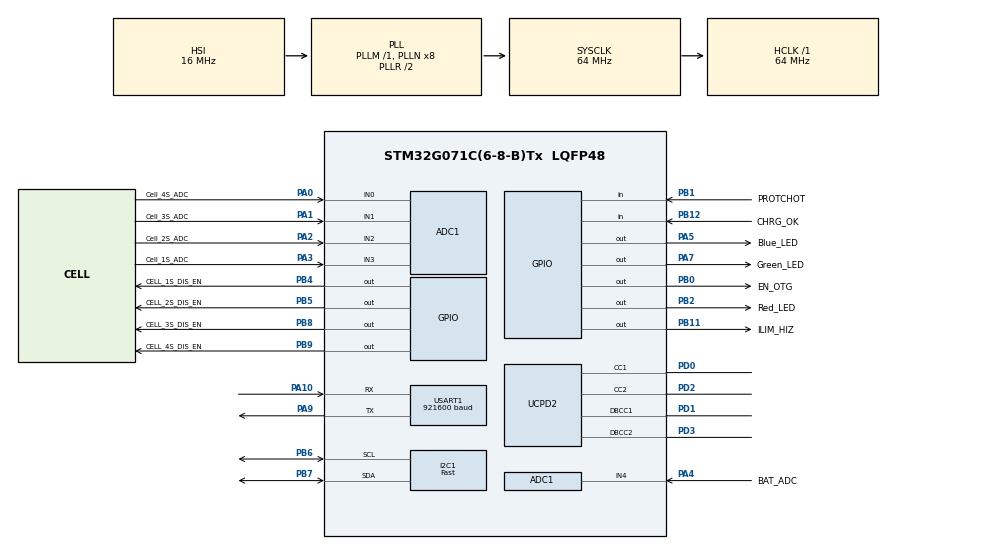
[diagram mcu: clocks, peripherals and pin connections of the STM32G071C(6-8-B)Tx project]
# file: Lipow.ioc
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ADC1.Channel-3\#ChannelRegularConversion=ADC_CHANNEL_4
ADC1.Channel-4\#ChannelRegularConversion=ADC_CHANNEL_3
ADC1.Channel-5\#ChannelRegularConversion=ADC_CHANNEL_2
ADC1.Channel-6\#ChannelRegularConversion=ADC_CHANNEL_1
ADC1.Channel-7\#ChannelRegularConversion=ADC_CHANNEL_0
ADC1.Channel-8\#ChannelRegularConversion=ADC_CHANNEL_TEMPSENSOR
ADC1.Channel-9\#ChannelRegularConversion=ADC_CHANNEL_VREFINT
ADC1.ChannelTS=ADC_CHANNEL_TEMPSENSOR
ADC1.ChannelVREF=ADC_CHANNEL_VREFINT
ADC1.ClockPrescaler=ADC_CLOCK_SYNC_PCLK_DIV4
ADC1.ContinuousConvMode=ENABLE
ADC1.DMAContinuousRequests=ENABLE
ADC1.EOCSelection=ADC_EOC_SEQ_CONV
ADC1.NbrOfConversion=7
ADC1.NbrOfConversionFlag=1
ADC1.Rank-3\#ChannelRegularConversion=1
ADC1.Rank-4\#ChannelRegularConversion=2
ADC1.Rank-5\#ChannelRegularConversion=3
ADC1.Rank-6\#ChannelRegularConversion=4
ADC1.Rank-7\#ChannelRegularConversion=5
ADC1.Rank-8\#ChannelRegularConversion=6
ADC1.Rank-9\#ChannelRegularConversion=7
ADC1.SamplingTime-3\#ChannelRegularConversion=ADC_SAMPLINGTIME_COMMON_1
ADC1.SamplingTime-4\#ChannelRegularConversion=ADC_SAMPLINGTIME_COMMON_1
ADC1.SamplingTime-5\#ChannelRegularConversion=ADC_SAMPLINGTIME_COMMON_1
ADC1.SamplingTime-6\#ChannelRegularConversion=ADC_SAMPLINGTIME_COMMON_1
ADC1.SamplingTime-7\#ChannelRegularConversion=ADC_SAMPLINGTIME_COMMON_1
ADC1.SamplingTime-8\#ChannelRegularConversion=ADC_SAMPLINGTIME_COMMON_1
ADC1.SamplingTime-9\#ChannelRegularConversion=ADC_SAMPLINGTIME_COMMON_1
ADC1.SamplingTimeCommon1=ADC_SAMPLETIME_160CYCLES_5
ADC1.SamplingTimeCommon2=ADC_SAMPLETIME_1CYCLE_5
ADC1.SelectedChannel=ADC_CHANNEL_0|ADC_CHANNEL_1|ADC_CHANNEL_2|ADC_CHANNEL_3|ADC_CHANNEL_4|ADC_CHANNEL_TEMPSENSOR|ADC_CHANNEL_VREFINT
ADC1.Sequencer=FULLY_CONFIGURABLE
ADC1.master=1
Dma.ADC1.0.Direction=DMA_PERIPH_TO_MEMORY
Dma.ADC1.0.EventEnable=DISABLE
Dma.ADC1.0.Instance=DMA1_Channel1
Dma.ADC1.0.MemDataAlignment=DMA_MDATAALIGN_WORD
Dma.ADC1.0.MemInc=DMA_MINC_ENABLE
Dma.ADC1.0.Mode=DMA_CIRCULAR
Dma.ADC1.0.PeriphDataAlignment=DMA_PDATAALIGN_WORD
Dma.ADC1.0.PeriphInc=DMA_PINC_DISABLE
Dma.ADC1.0.Polarity=HAL_DMAMUX_REQ_GEN_RISING
Dma.ADC1.0.Priority=DMA_PRIORITY_LOW
Dma.ADC1.0.RequestNumber=1
Dma.ADC1.0.SignalID=NONE
Dma.ADC1.0.SyncEnable=DISABLE
Dma.ADC1.0.SyncPolarity=HAL_DMAMUX_SYNC_NO_EVENT
Dma.ADC1.0.SyncRequestNumber=1
Dma.ADC1.0.SyncSignalID=NONE
Dma.I2C1_RX.4.Direction=DMA_PERIPH_TO_MEMORY
Dma.I2C1_RX.4.EventEnable=DISABLE
Dma.I2C1_RX.4.Instance=DMA1_Channel5
Dma.I2C1_RX.4.MemDataAlignment=DMA_MDATAALIGN_BYTE
Dma.I2C1_RX.4.MemInc=DMA_MINC_ENABLE
Dma.I2C1_RX.4.Mode=DMA_NORMAL
Dma.I2C1_RX.4.PeriphDataAlignment=DMA_PDATAALIGN_BYTE
Dma.I2C1_RX.4.PeriphInc=DMA_PINC_DISABLE
Dma.I2C1_RX.4.Polarity=HAL_DMAMUX_REQ_GEN_RISING
Dma.I2C1_RX.4.Priority=DMA_PRIORITY_HIGH
Dma.I2C1_RX.4.RequestNumber=1
Dma.I2C1_RX.4.SignalID=NONE
Dma.I2C1_RX.4.SyncEnable=DISABLE
Dma.I2C1_RX.4.SyncPolarity=HAL_DMAMUX_SYNC_NO_EVENT
Dma.I2C1_RX.4.SyncRequestNumber=1
Dma.I2C1_RX.4.SyncSignalID=NONE
Dma.I2C1_TX.3.Direction=DMA_MEMORY_TO_PERIPH
Dma.I2C1_TX.3.EventEnable=DISABLE
Dma.I2C1_TX.3.Instance=DMA1_Channel4
Dma.I2C1_TX.3.MemDataAlignment=DMA_MDATAALIGN_BYTE
Dma.I2C1_TX.3.MemInc=DMA_MINC_ENABLE
Dma.I2C1_TX.3.Mode=DMA_NORMAL
Dma.I2C1_TX.3.PeriphDataAlignment=DMA_PDATAALIGN_BYTE
Dma.I2C1_TX.3.PeriphInc=DMA_PINC_DISABLE
Dma.I2C1_TX.3.Polarity=HAL_DMAMUX_REQ_GEN_RISING
Dma.I2C1_TX.3.Priority=DMA_PRIORITY_HIGH
Dma.I2C1_TX.3.RequestNumber=1
Dma.I2C1_TX.3.SignalID=NONE
Dma.I2C1_TX.3.SyncEnable=DISABLE
Dma.I2C1_TX.3.SyncPolarity=HAL_DMAMUX_SYNC_NO_EVENT
Dma.I2C1_TX.3.SyncRequestNumber=1
Dma.I2C1_TX.3.SyncSignalID=NONE
Dma.Request0=ADC1
Dma.Request1=USART1_TX
Dma.Request2=USART1_RX
Dma.Request3=I2C1_TX
Dma.Request4=I2C1_RX
Dma.Request5=UCPD2_RX
Dma.Request6=UCPD2_TX
Dma.UCPD2_RX.5.Direction=DMA_PERIPH_TO_MEMORY
Dma.UCPD2_RX.5.EventEnable=DISABLE
Dma.UCPD2_RX.5.Instance=DMA1_Channel6
Dma.UCPD2_RX.5.MemDataAlignment=DMA_MDATAALIGN_BYTE
Dma.UCPD2_RX.5.MemInc=DMA_MINC_ENABLE
Dma.UCPD2_RX.5.Mode=DMA_NORMAL
Dma.UCPD2_RX.5.PeriphDataAlignment=DMA_PDATAALIGN_BYTE
Dma.UCPD2_RX.5.PeriphInc=DMA_PINC_DISABLE
Dma.UCPD2_RX.5.Polarity=HAL_DMAMUX_REQ_GEN_RISING
Dma.UCPD2_RX.5.Priority=DMA_PRIORITY_LOW
Dma.UCPD2_RX.5.RequestNumber=1
Dma.UCPD2_RX.5.SignalID=NONE
Dma.UCPD2_RX.5.SyncEnable=DISABLE
Dma.UCPD2_RX.5.SyncPolarity=HAL_DMAMUX_SYNC_NO_EVENT
Dma.UCPD2_RX.5.SyncRequestNumber=1
Dma.UCPD2_RX.5.SyncSignalID=NONE
Dma.UCPD2_TX.6.Direction=DMA_MEMORY_TO_PERIPH
Dma.UCPD2_TX.6.EventEnable=DISABLE
Dma.UCPD2_TX.6.Instance=DMA1_Channel7
Dma.UCPD2_TX.6.MemDataAlignment=DMA_MDATAALIGN_BYTE
Dma.UCPD2_TX.6.MemInc=DMA_MINC_ENABLE
Dma.UCPD2_TX.6.Mode=DMA_NORMAL
Dma.UCPD2_TX.6.PeriphDataAlignment=DMA_PDATAALIGN_BYTE
Dma.UCPD2_TX.6.PeriphInc=DMA_PINC_DISABLE
Dma.UCPD2_TX.6.Polarity=HAL_DMAMUX_REQ_GEN_RISING
Dma.UCPD2_TX.6.Priority=DMA_PRIORITY_LOW
Dma.UCPD2_TX.6.RequestNumber=1
Dma.UCPD2_TX.6.SignalID=NONE
Dma.UCPD2_TX.6.SyncEnable=DISABLE
Dma.UCPD2_TX.6.SyncPolarity=HAL_DMAMUX_SYNC_NO_EVENT
Dma.UCPD2_TX.6.SyncRequestNumber=1
Dma.UCPD2_TX.6.SyncSignalID=NONE
Dma.USART1_RX.2.Direction=DMA_PERIPH_TO_MEMORY
Dma.USART1_RX.2.EventEnable=DISABLE
Dma.USART1_RX.2.Instance=DMA1_Channel3
Dma.USART1_RX.2.MemDataAlignment=DMA_MDATAALIGN_BYTE
Dma.USART1_RX.2.MemInc=DMA_MINC_ENABLE
Dma.USART1_RX.2.Mode=DMA_NORMAL
Dma.USART1_RX.2.PeriphDataAlignment=DMA_PDATAALIGN_BYTE
Dma.USART1_RX.2.PeriphInc=DMA_PINC_DISABLE
Dma.USART1_RX.2.Polarity=HAL_DMAMUX_REQ_GEN_RISING
Dma.USART1_RX.2.Priority=DMA_PRIORITY_LOW
Dma.USART1_RX.2.RequestNumber=1
Dma.USART1_RX.2.SignalID=HAL_DMAMUX1_REQ_GEN_DMAMUX1_CH0_EVT
Dma.USART1_RX.2.SyncEnable=DISABLE
Dma.USART1_RX.2.SyncPolarity=HAL_DMAMUX_SYNC_NO_EVENT
Dma.USART1_RX.2.SyncRequestNumber=1
Dma.USART1_RX.2.SyncSignalID=NONE
Dma.USART1_TX.1.Direction=DMA_MEMORY_TO_PERIPH
Dma.USART1_TX.1.EventEnable=DISABLE
Dma.USART1_TX.1.Instance=DMA1_Channel2
Dma.USART1_TX.1.MemDataAlignment=DMA_MDATAALIGN_BYTE
Dma.USART1_TX.1.MemInc=DMA_MINC_ENABLE
Dma.USART1_TX.1.Mode=DMA_NORMAL
Dma.USART1_TX.1.PeriphDataAlignment=DMA_PDATAALIGN_BYTE
Dma.USART1_TX.1.PeriphInc=DMA_PINC_DISABLE
Dma.USART1_TX.1.Polarity=HAL_DMAMUX_REQ_GEN_RISING
Dma.USART1_TX.1.Priority=DMA_PRIORITY_LOW
Dma.USART1_TX.1.RequestNumber=1
Dma.USART1_TX.1.SignalID=HAL_DMAMUX1_REQ_GEN_DMAMUX1_CH0_EVT
Dma.USART1_TX.1.SyncEnable=DISABLE
Dma.USART1_TX.1.SyncPolarity=HAL_DMAMUX_SYNC_NO_EVENT
Dma.USART1_TX.1.SyncRequestNumber=1
Dma.USART1_TX.1.SyncSignalID=HAL_DMAMUX1_SYNC_DMAMUX1_CH0_EVT
FREERTOS.Tasks01=defaultTask,0,128,StartDefaultTask,Default,NULL
FREERTOS.configGENERATE_RUN_TIME_STATS=1
FREERTOS.configLIBRARY_MAX_SYSCALL_INTERRUPT_PRIORITY=3
FREERTOS.configMINIMAL_STACK_SIZE=64
FREERTOS.configTOTAL_HEAP_SIZE=12000
FREERTOS.configUSE_PREEMPTION=1
FREERTOS.configUSE_STATS_FORMATTING_FUNCTIONS=0
FREERTOS.configUSE_TRACE_FACILITY=1
I2C1.I2C_Speed_Mode=I2C_Fast
I2C1.Timing=0x00602173
Mcu.Family=STM32G0
Mcu.Name=STM32G071C(6-8-B)Tx
Mcu.Package=LQFP48
NVIC.ADC1_COMP_IRQn=true\:3\:0\:true\:false\:true\:true\:true\:true
NVIC.DMA1_Ch4_7_DMAMUX1_OVR_IRQn=true\:3\:0\:false\:false\:true\:true\:false\:true
NVIC.DMA1_Channel1_IRQn=true\:3\:0\:true\:false\:true\:true\:false\:true
NVIC.DMA1_Channel2_3_IRQn=true\:3\:0\:true\:false\:true\:true\:false\:true
NVIC.I2C1_IRQn=true\:3\:0\:true\:false\:true\:true\:true\:true
NVIC.TIM1_BRK_UP_TRG_COM_IRQn=true\:0\:0\:false\:false\:true\:false\:false\:true
NVIC.TIM7_LPTIM2_IRQn=true\:3\:0\:true\:false\:true\:true\:true\:true
NVIC.TimeBase=TIM1_BRK_UP_TRG_COM_IRQn
NVIC.TimeBaseIP=TIM1
NVIC.UCPD1_2_IRQn=true\:3\:0\:false\:false\:true\:true\:true\:false
NVIC.USART1_IRQn=true\:3\:0\:true\:false\:true\:true\:true\:true
PA0.GPIO_Label=Cell_4S_ADC
PA0.Mode=IN0
PA0.Signal=ADC1_IN0
PA1.GPIO_Label=Cell_3S_ADC
PA1.Mode=IN1
PA1.Signal=ADC1_IN1
PA10.GPIO_Speed=GPIO_SPEED_FREQ_HIGH
PA10.Mode=Asynchronous
PA10.Signal=USART1_RX
PA11\ [PA9].GPIO_PuPd=GPIO_NOPULL
PA11\ [PA9].GPIO_Speed=GPIO_SPEED_FREQ_HIGH
PA11\ [PA9].Signal=USART1_CTS
PA12\ [PA10].Signal=USART1_RTS
PA13.Mode=Serial_Wire
PA13.Signal=SYS_SWDIO
PA14-BOOT0.Mode=Serial_Wire
PA14-BOOT0.Signal=SYS_SWCLK
PA2.GPIO_Label=Cell_2S_ADC
PA2.Mode=IN2
PA2.Signal=ADC1_IN2
PA3.GPIO_Label=Cell_1S_ADC
PA3.Mode=IN3
PA3.Signal=ADC1_IN3
PA4.GPIO_Label=BAT_ADC
PA4.Mode=IN4
PA4.Signal=ADC1_IN4
PA5.GPIO_Label=Blue_LED
PA5.PinState=GPIO_PIN_SET
PA5.Signal=GPIO_Output
PA7.GPIO_Label=Green_LED
PA7.PinState=GPIO_PIN_SET
PA7.Signal=GPIO_Output
PA9.GPIO_Speed=GPIO_SPEED_FREQ_HIGH
PA9.Mode=Asynchronous
PA9.Signal=USART1_TX
PB0.GPIO_Label=EN_OTG
PB0.Signal=GPIO_Output
PB1.GPIO_Label=PROTCHOT
PB1.Signal=GPIO_Input
PB11.GPIO_Label=ILIM_HIZ
PB11.Signal=GPIO_Output
PB12.GPIO_Label=CHRG_OK
PB12.Signal=GPIO_Input
PB2.GPIO_Label=Red_LED
PB2.PinState=GPIO_PIN_SET
PB2.Signal=GPIO_Output
PB4.GPIO_Label=CELL_1S_DIS_EN
PB4.Signal=GPIO_Output
PB5.GPIO_Label=CELL_2S_DIS_EN
PB5.Signal=GPIO_Output
PB6.GPIO_PuPdOD=GPIO_NOPULL
PB6.Mode=I2C
PB6.Signal=I2C1_SCL
PB7.GPIO_PuPdOD=GPIO_NOPULL
PB7.Mode=I2C
PB7.Signal=I2C1_SDA
PB8.GPIO_Label=CELL_3S_DIS_EN
PB8.Signal=GPIO_Output
PB9.GPIO_Label=CELL_4S_DIS_EN
PB9.Signal=GPIO_Output
PD0.Mode=Sink_AllSignals
PD0.Signal=UCPD2_CC1
PD1.Mode=EnableDeadBattery
PD1.Signal=UCPD2_DBCC1
PD2.Mode=Sink_AllSignals
PD2.Signal=UCPD2_CC2
PD3.Mode=EnableDeadBattery
PD3.Signal=UCPD2_DBCC2
ProjectManager.HeapSize=0x200
ProjectManager.StackSize=0x400
ProjectManager.TargetToolchain=Makefile
RCC.ADCCLockSelection=RCC_ADCCLKSOURCE_HSI
RCC.ADCFreq_Value=16000000
RCC.AHBFreq_Value=64000000
RCC.CortexFreq_Value=64000000
RCC.EXTERNAL_CLOCK_VALUE=48000
RCC.HCLKFreq_Value=64000000
RCC.HSE_VALUE=8000000
RCC.HSI_VALUE=16000000
RCC.LSE_VALUE=32768
RCC.SYSCLKFreq_VALUE=64000000
RCC.SYSCLKSource=RCC_SYSCLKSOURCE_PLLCLK
RCC.VCOOutputFreq_Value=128000000
TIM7.Period=0x1
TIM7.Prescaler=0x1194
USART1.BaudRate=921600
USART1.DMADisableonRxErrorParam=ADVFEATURE_DMA_DISABLEONRXERROR
USART1.OverrunDisableParam=ADVFEATURE_OVERRUN_DISABLE
USART1.VirtualMode-Asynchronous=VM_ASYNC
USART1.WordLength=WORDLENGTH_8B
USBPD.PE_CapscounterSupport_P0=USBPD_TRUE
USBPD.PE_DR_Swap_To_DFP_P0=USBPD_FALSE
USBPD.PE_DR_Swap_To_UFP_P0=USBPD_FALSE
USBPD.PE_SpecRevision_P0=USBPD_SPECIFICATION_REV3
USBPD.PORT0_NB_SINKPDO=5
USBPD.PORT0_SINK_PDO1=0x2201912C
USBPD.PORT0_SINK_PDO2=0x00000000
USBPD.USBPD_BOARD_MAX_CURRENT_MA=5000
USBPD.USBPD_BOARD_MAX_VOLTAGE_MV=20000
USBPD.USBPD_BOARD_REQUESTED_VOLTAGE_MV=15000
USBPD.USBPD_CORE_PDO_SRC_FIXED_MAX_CURRENT=5
USBPD.USBPD_PDP_SNK_IN_WATTS=60
VP_ADC1_TempSens_Input.Mode=IN-TempSens
VP_ADC1_Vref_Input.Mode=IN-Vrefint
VP_FREERTOS_VS_CMSIS_V1.Mode=CMSIS_V1
VP_SYS_VS_DBSignals.Mode=DisableDeadBatterySignals
VP_SYS_VS_tim1.Mode=TIM1
VP_TIM7_VS_ClockSourceINT.Mode=Enable_Timer
VP_USBPD_VS_PD3FULL.Mode=PD3_Full_Stack
VP_USBPD_VS_USBPD2.Mode=USBPD_P0
VP_USBPD_VS_usbpd_tim2.Mode=TIM2
board=custom

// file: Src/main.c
/* USER CODE BEGIN Header */
/**
 ******************************************************************************
 * @file           : main.c
 * @brief          : Main program body
 ******************************************************************************
 * This notice applies to any and all portions of this file
 * that are not between comment pairs USER CODE BEGIN and
 * USER CODE END. Other portions of this file, whether
 * inserted by the user or by software development tools
 * are owned by their respective copyright owners.
 *
 * Copyright (c) 2019 STMicroelectronics International N.V.
 * All rights reserved.
 *
 * Redistribution and use in source and binary forms, with or without
 * modification, are permitted, provided that the following conditions are met:
 *
 * 1. Redistribution of source code must retain the above copyright notice,
 *    this list of conditions and the following disclaimer.
 * 2. Redistributions in binary form must reproduce the above copyright notice,
 *    this list of conditions and the following disclaimer in the documentation
 *    and/or other materials provided with the distribution.
 * 3. Neither the name of STMicroelectronics nor the names of other
 *    contributors to this software may be used to endorse or promote products
 *    derived from this software without specific written permission.
 * 4. This software, including modifications and/or derivative works of this
 *    software, must execute solely and exclusively on microcontroller or
 *    microprocessor devices manufactured by or for STMicroelectronics.
 * 5. Redistribution and use of this software other than as permitted under
 *    this license is void and will automatically terminate your rights under
 *    this license.
 *
 * THIS SOFTWARE IS PROVIDED BY STMICROELECTRONICS AND CONTRIBUTORS "AS IS"
 * AND ANY EXPRESS, IMPLIED OR STATUTORY WARRANTIES, INCLUDING, BUT NOT
 * LIMITED TO, THE IMPLIED WARRANTIES OF MERCHANTABILITY, FITNESS FOR A
 * PARTICULAR PURPOSE AND NON-INFRINGEMENT OF THIRD PARTY INTELLECTUAL PROPERTY
 * RIGHTS ARE DISCLAIMED TO THE FULLEST EXTENT PERMITTED BY LAW. IN NO EVENT
 * SHALL STMICROELECTRONICS OR CONTRIBUTORS BE LIABLE FOR ANY DIRECT, INDIRECT,
 * INCIDENTAL, SPECIAL, EXEMPLARY, OR CONSEQUENTIAL DAMAGES (INCLUDING, BUT NOT
 * LIMITED TO, PROCUREMENT OF SUBSTITUTE GOODS OR SERVICES; LOSS OF USE, DATA,
 * OR PROFITS; OR BUSINESS INTERRUPTION) HOWEVER CAUSED AND ON ANY THEORY OF
 * LIABILITY, WHETHER IN CONTRACT, STRICT LIABILITY, OR TORT (INCLUDING
 * NEGLIGENCE OR OTHERWISE) ARISING IN ANY WAY OUT OF THE USE OF THIS SOFTWARE,
 * EVEN IF ADVISED OF THE POSSIBILITY OF SUCH DAMAGE.
 *
 ******************************************************************************
 */
/* USER CODE END Header */
#include "main.h"
#include "cmsis_os.h"
#include "usbpd.h"

/* USER CODE BEGIN Includes */

// Application level
#include "UARTCommandConsole.h"
#include "adc_interface.h"
#include "battery.h"
#include "bq25703a_regulator.h"

// System
#include "printf.h"
#include "stm32g0xx_hal_flash.h"
#include "stm32g0xx_hal_flash_ex.h"
#include "stm32g0xx_hal_tim.h"
#include "error.h"

/* USER CODE END Includes */

/* USER CODE BEGIN PD */

/* Format of the different kind of message */
/*   - 31-28  4 bit for the message type   */
#define DEMO_MSG_TYPE_POS                 28u
#define DEMO_MSG_TYPE_MSK                 (0xFu << DEMO_MSG_TYPE_POS)
#define DEMO_MSG_MMI                      (0u   << DEMO_MSG_TYPE_POS)
#define DEMO_MSG_CAD                      (1u   << DEMO_MSG_TYPE_POS)
#define DEMO_MSG_PENOTIFY                 (2u   << DEMO_MSG_TYPE_POS)

/* USER CODE END PD */

ADC_HandleTypeDef hadc1;
DMA_HandleTypeDef hdma_adc1;

I2C_HandleTypeDef hi2c1;
DMA_HandleTypeDef hdma_i2c1_tx;
DMA_HandleTypeDef hdma_i2c1_rx;

TIM_HandleTypeDef htim7;

UART_HandleTypeDef huart1;
DMA_HandleTypeDef hdma_usart1_tx;
DMA_HandleTypeDef hdma_usart1_rx;

osThreadId defaultTaskHandle;
/* USER CODE BEGIN PV */

osThreadId defaultTaskHandle;
osThreadId blinkyTaskHandle;

SemaphoreHandle_t xTxMutex_CLI;
SemaphoreHandle_t xTxMutex_Regulator;

/* USER CODE END PV */

void SystemClock_Config(void);
static void MX_GPIO_Init(void);
static void MX_DMA_Init(void);
static void MX_ADC1_Init(void);
static void MX_I2C1_Init(void);
static void MX_TIM7_Init(void);
static void MX_USART1_UART_Init(void);
static void MX_UCPD2_Init(void);
void StartDefaultTask(void const * argument);

/* USER CODE BEGIN PFP */

void vLED_Blinky(void const *pvParameters);

/* USER CODE END PFP */

/* USER CODE BEGIN 0 */
const uint8_t HWBoardVersionName[] = "TBD";
const uint8_t PDTypeName[] = "TBD";
const uint8_t* BSP_GetHWBoardVersionName(void);
const uint8_t* BSP_GetPDTypeName(void);
const uint8_t* BSP_GetHWBoardVersionName(void)
{
  return HWBoardVersionName;
}

const uint8_t* BSP_GetPDTypeName(void)
{
  return PDTypeName;
}

/* USER CODE END 0 */

int main(void)
{

  /* MCU Configuration--------------------------------------------------------*/

  /* Reset of all peripherals, Initializes the Flash interface and the Systick. */
  HAL_Init();

  /* Configure the system clock */
  SystemClock_Config();

  /* Initialize all configured peripherals */
  MX_GPIO_Init();
  MX_DMA_Init();
  MX_ADC1_Init();
  MX_I2C1_Init();
  MX_TIM7_Init();
  MX_USART1_UART_Init();
  MX_UCPD2_Init();
  /* USER CODE BEGIN 2 */

  // Check nBOOT_SEL value. Set if not 0. Enables BOOT mode from BOOT0 Pin
  FLASH_OBProgramInitTypeDef OBInit; // programming option structure
  HAL_FLASHEx_OBGetConfig(&OBInit);
  if ((OBInit.USERConfig & OB_USER_nBOOT_SEL) == OB_BOOT0_FROM_OB) {
    // unlock flash
    if(HAL_FLASH_Unlock() == HAL_OK) {
      // unlock option bytes in particular
      if(HAL_FLASH_OB_Unlock() == HAL_OK) {
        // program selected option byte
        OBInit.OptionType = OPTIONBYTE_USER;
        OBInit.USERType = OB_USER_nBOOT_SEL;
        OBInit.USERConfig = 0;
        HAL_FLASHEx_OBProgram(&OBInit); // result not checked as there is no recourse at this point
        if(HAL_FLASH_OB_Lock() == HAL_OK) {
            HAL_FLASH_Lock(); // again, no recourse
            HAL_FLASH_OB_Launch(); // reset occurs here (sorry, debugger)
        }
      }
    }
  }

#if defined(_GUI_INTERFACE)
  /* Disable dead battery to use USART1_RX used by GUI 	*/
  LL_APB2_GRP1_EnableClock(LL_APB2_GRP1_PERIPH_SYSCFG);
  LL_SYSCFG_DisableDBATT(SYSCFG_CFGR1_UCPD2_STROBE);
  /* Initialize GUI */
  GUI_Init(BSP_GetHWBoardVersionName, BSP_GetPDTypeName);
#endif /* _GUI_INTERFACE */
  /* USER CODE END 2 */

  /* USBPD initialisation ---------------------------------*/
  MX_USBPD_Init();

  /* USER CODE BEGIN RTOS_MUTEX */
	xTxMutex_Regulator = xSemaphoreCreateMutex();
	configASSERT(xTxMutex_Regulator);

	xTxMutex_CLI = xSemaphoreCreateMutex();
	configASSERT(xTxMutex_CLI);
  /* USER CODE END RTOS_MUTEX */

  /* Create the thread(s) */
  /* definition and creation of defaultTask */
  osThreadDef(defaultTask, StartDefaultTask, osPriorityNormal, 0, 128);
  defaultTaskHandle = osThreadCreate(osThread(defaultTask), NULL);

  /* USER CODE BEGIN RTOS_THREADS */

	osThreadDef(blink_led, vLED_Blinky, LED_TASK_PRIORITY, 0, configMINIMAL_STACK_SIZE);
	blinkyTaskHandle = osThreadCreate(osThread(blink_led), NULL);

	/* Start the adc task */
	osThreadDef(read_adc, vRead_ADC, ADC_TASK_PRIORITY, 0, vRead_ADC_STACK_SIZE);
	adcTaskHandle = osThreadCreate(osThread(read_adc), NULL);

	/* Start the task that manages the regulator*/
	osThreadDef(regulator, vRegulator, REGULATOR_TASK_PRIORITY, 0, vRegulator_STACK_SIZE);
	regulatorTaskHandle = osThreadCreate(osThread(regulator), NULL);

#if defined(_CLI_INTERFACE)
	MX_USART1_UART_Init();
	/* Initialize CLI */
	/* Start the Command Line Interface on UART1 */
	osThreadDef(CLI, prvUARTCommandConsoleTask, UART_CLI_TASK_PRIORITY, 0, vcliSTACK_SIZE);
	CLITaskHandle = osThreadCreate(osThread(CLI), NULL);

	/* Register commands with the FreeRTOS+CLI command interpreter. */
	vRegisterCLICommands();
#endif /* _CLI_INTERFACE */

	/* Initialize the Device Policy Manager */
	if( USBPD_ERROR == USBPD_DPM_InitOS())
	{
		/* error the OS init  */
		while(1);
	}

  /* USER CODE END RTOS_THREADS */

  /* Start scheduler */
  osKernelStart();

  /* We should never get here as control is now taken by the scheduler */
  /* Infinite loop */
	while (1) {

	}
}

void SystemClock_Config(void)
{
  RCC_OscInitTypeDef RCC_OscInitStruct = {0};
  RCC_ClkInitTypeDef RCC_ClkInitStruct = {0};
  RCC_PeriphCLKInitTypeDef PeriphClkInit = {0};

  /** Configure the main internal regulator output voltage
  */
  HAL_PWREx_ControlVoltageScaling(PWR_REGULATOR_VOLTAGE_SCALE1);
  /** Initializes the RCC Oscillators according to the specified parameters
  * in the RCC_OscInitTypeDef structure.
  */
  RCC_OscInitStruct.OscillatorType = RCC_OSCILLATORTYPE_HSI;
  RCC_OscInitStruct.HSIState = RCC_HSI_ON;
  RCC_OscInitStruct.HSIDiv = RCC_HSI_DIV1;
  RCC_OscInitStruct.HSICalibrationValue = RCC_HSICALIBRATION_DEFAULT;
  RCC_OscInitStruct.PLL.PLLState = RCC_PLL_ON;
  RCC_OscInitStruct.PLL.PLLSource = RCC_PLLSOURCE_HSI;
  RCC_OscInitStruct.PLL.PLLM = RCC_PLLM_DIV1;
  RCC_OscInitStruct.PLL.PLLN = 8;
  RCC_OscInitStruct.PLL.PLLP = RCC_PLLP_DIV2;
  RCC_OscInitStruct.PLL.PLLQ = RCC_PLLQ_DIV2;
  RCC_OscInitStruct.PLL.PLLR = RCC_PLLR_DIV2;
  if (HAL_RCC_OscConfig(&RCC_OscInitStruct) != HAL_OK)
  {
    Error_Handler();
  }
  /** Initializes the CPU, AHB and APB buses clocks
  */
  RCC_ClkInitStruct.ClockType = RCC_CLOCKTYPE_HCLK|RCC_CLOCKTYPE_SYSCLK
                              |RCC_CLOCKTYPE_PCLK1;
  RCC_ClkInitStruct.SYSCLKSource = RCC_SYSCLKSOURCE_PLLCLK;
  RCC_ClkInitStruct.AHBCLKDivider = RCC_SYSCLK_DIV1;
  RCC_ClkInitStruct.APB1CLKDivider = RCC_HCLK_DIV1;

  if (HAL_RCC_ClockConfig(&RCC_ClkInitStruct, FLASH_LATENCY_2) != HAL_OK)
  {
    Error_Handler();
  }
  /** Initializes the peripherals clocks
  */
  PeriphClkInit.PeriphClockSelection = RCC_PERIPHCLK_USART1|RCC_PERIPHCLK_I2C1
                              |RCC_PERIPHCLK_ADC;
  PeriphClkInit.Usart1ClockSelection = RCC_USART1CLKSOURCE_PCLK1;
  PeriphClkInit.I2c1ClockSelection = RCC_I2C1CLKSOURCE_PCLK1;
  PeriphClkInit.AdcClockSelection = RCC_ADCCLKSOURCE_HSI;
  if (HAL_RCCEx_PeriphCLKConfig(&PeriphClkInit) != HAL_OK)
  {
    Error_Handler();
  }
}

static void MX_ADC1_Init(void)
{

  ADC_ChannelConfTypeDef sConfig = {0};

  /** Configure the global features of the ADC (Clock, Resolution, Data Alignment and number of conversion)
  */
  hadc1.Instance = ADC1;
  hadc1.Init.ClockPrescaler = ADC_CLOCK_SYNC_PCLK_DIV4;
  hadc1.Init.Resolution = ADC_RESOLUTION_12B;
  hadc1.Init.DataAlign = ADC_DATAALIGN_RIGHT;
  hadc1.Init.ScanConvMode = ADC_SCAN_ENABLE;
  hadc1.Init.EOCSelection = ADC_EOC_SEQ_CONV;
  hadc1.Init.LowPowerAutoWait = DISABLE;
  hadc1.Init.LowPowerAutoPowerOff = DISABLE;
  hadc1.Init.ContinuousConvMode = ENABLE;
  hadc1.Init.NbrOfConversion = 7;
  hadc1.Init.DiscontinuousConvMode = DISABLE;
  hadc1.Init.ExternalTrigConv = ADC_SOFTWARE_START;
  hadc1.Init.ExternalTrigConvEdge = ADC_EXTERNALTRIGCONVEDGE_NONE;
  hadc1.Init.DMAContinuousRequests = ENABLE;
  hadc1.Init.Overrun = ADC_OVR_DATA_PRESERVED;
  hadc1.Init.SamplingTimeCommon1 = ADC_SAMPLETIME_160CYCLES_5;
  hadc1.Init.SamplingTimeCommon2 = ADC_SAMPLETIME_1CYCLE_5;
  hadc1.Init.OversamplingMode = DISABLE;
  hadc1.Init.TriggerFrequencyMode = ADC_TRIGGER_FREQ_HIGH;
  if (HAL_ADC_Init(&hadc1) != HAL_OK)
  {
    Error_Handler();
  }
  /** Configure Regular Channel
  */
  sConfig.Channel = ADC_CHANNEL_4;
  sConfig.Rank = ADC_REGULAR_RANK_1;
  sConfig.SamplingTime = ADC_SAMPLINGTIME_COMMON_1;
  if (HAL_ADC_ConfigChannel(&hadc1, &sConfig) != HAL_OK)
  {
    Error_Handler();
  }
  /** Configure Regular Channel
  */
  sConfig.Channel = ADC_CHANNEL_3;
  sConfig.Rank = ADC_REGULAR_RANK_2;
  if (HAL_ADC_ConfigChannel(&hadc1, &sConfig) != HAL_OK)
  {
    Error_Handler();
  }
  /** Configure Regular Channel
  */
  sConfig.Channel = ADC_CHANNEL_2;
  sConfig.Rank = ADC_REGULAR_RANK_3;
  if (HAL_ADC_ConfigChannel(&hadc1, &sConfig) != HAL_OK)
  {
    Error_Handler();
  }
  /** Configure Regular Channel
  */
  sConfig.Channel = ADC_CHANNEL_1;
  sConfig.Rank = ADC_REGULAR_RANK_4;
  if (HAL_ADC_ConfigChannel(&hadc1, &sConfig) != HAL_OK)
  {
    Error_Handler();
  }
  /** Configure Regular Channel
  */
  sConfig.Channel = ADC_CHANNEL_0;
  sConfig.Rank = ADC_REGULAR_RANK_5;
  if (HAL_ADC_ConfigChannel(&hadc1, &sConfig) != HAL_OK)
  {
    Error_Handler();
  }
  /** Configure Regular Channel
  */
  sConfig.Channel = ADC_CHANNEL_TEMPSENSOR;
  sConfig.Rank = ADC_REGULAR_RANK_6;
  if (HAL_ADC_ConfigChannel(&hadc1, &sConfig) != HAL_OK)
  {
    Error_Handler();
  }
  /** Configure Regular Channel
  */
  sConfig.Channel = ADC_CHANNEL_VREFINT;
  sConfig.Rank = ADC_REGULAR_RANK_7;
  if (HAL_ADC_ConfigChannel(&hadc1, &sConfig) != HAL_OK)
  {
    Error_Handler();
  }

}

static void MX_I2C1_Init(void)
{

  hi2c1.Instance = I2C1;
  hi2c1.Init.Timing = 0x00602173;
  hi2c1.Init.OwnAddress1 = 0;
  hi2c1.Init.AddressingMode = I2C_ADDRESSINGMODE_7BIT;
  hi2c1.Init.DualAddressMode = I2C_DUALADDRESS_DISABLE;
  hi2c1.Init.OwnAddress2 = 0;
  hi2c1.Init.OwnAddress2Masks = I2C_OA2_NOMASK;
  hi2c1.Init.GeneralCallMode = I2C_GENERALCALL_DISABLE;
  hi2c1.Init.NoStretchMode = I2C_NOSTRETCH_DISABLE;
  if (HAL_I2C_Init(&hi2c1) != HAL_OK)
  {
    Error_Handler();
  }
  /** Configure Analogue filter
  */
  if (HAL_I2CEx_ConfigAnalogFilter(&hi2c1, I2C_ANALOGFILTER_ENABLE) != HAL_OK)
  {
    Error_Handler();
  }
  /** Configure Digital filter
  */
  if (HAL_I2CEx_ConfigDigitalFilter(&hi2c1, 0) != HAL_OK)
  {
    Error_Handler();
  }

}

static void MX_TIM7_Init(void)
{

  TIM_MasterConfigTypeDef sMasterConfig = {0};

  htim7.Instance = TIM7;
  htim7.Init.Prescaler = 0x1194;
  htim7.Init.CounterMode = TIM_COUNTERMODE_UP;
  htim7.Init.Period = 0x1;
  htim7.Init.AutoReloadPreload = TIM_AUTORELOAD_PRELOAD_DISABLE;
  if (HAL_TIM_Base_Init(&htim7) != HAL_OK)
  {
    Error_Handler();
  }
  sMasterConfig.MasterOutputTrigger = TIM_TRGO_RESET;
  sMasterConfig.MasterSlaveMode = TIM_MASTERSLAVEMODE_DISABLE;
  if (HAL_TIMEx_MasterConfigSynchronization(&htim7, &sMasterConfig) != HAL_OK)
  {
    Error_Handler();
  }
  /* USER CODE BEGIN TIM7_Init 2 */

	HAL_TIM_Base_Start_IT(&htim7);

  /* USER CODE END TIM7_Init 2 */

}

static void MX_UCPD2_Init(void)
{

  LL_GPIO_InitTypeDef GPIO_InitStruct = {0};

  /* Peripheral clock enable */
  LL_APB1_GRP1_EnableClock(LL_APB1_GRP1_PERIPH_UCPD2);

  LL_IOP_GRP1_EnableClock(LL_IOP_GRP1_PERIPH_GPIOD);
  /**UCPD2 GPIO Configuration
  PD0   ------> UCPD2_CC1
  PD2   ------> UCPD2_CC2
  */
  GPIO_InitStruct.Pin = LL_GPIO_PIN_0;
  GPIO_InitStruct.Mode = LL_GPIO_MODE_ANALOG;
  GPIO_InitStruct.Pull = LL_GPIO_PULL_NO;
  LL_GPIO_Init(GPIOD, &GPIO_InitStruct);

  GPIO_InitStruct.Pin = LL_GPIO_PIN_2;
  GPIO_InitStruct.Mode = LL_GPIO_MODE_ANALOG;
  GPIO_InitStruct.Pull = LL_GPIO_PULL_NO;
  LL_GPIO_Init(GPIOD, &GPIO_InitStruct);

  /* UCPD2 DMA Init */

  /* UCPD2_RX Init */
  LL_DMA_SetPeriphRequest(DMA1, LL_DMA_CHANNEL_6, LL_DMAMUX_REQ_UCPD2_RX);

  LL_DMA_SetDataTransferDirection(DMA1, LL_DMA_CHANNEL_6, LL_DMA_DIRECTION_PERIPH_TO_MEMORY);

  LL_DMA_SetChannelPriorityLevel(DMA1, LL_DMA_CHANNEL_6, LL_DMA_PRIORITY_LOW);

  LL_DMA_SetMode(DMA1, LL_DMA_CHANNEL_6, LL_DMA_MODE_NORMAL);

  LL_DMA_SetPeriphIncMode(DMA1, LL_DMA_CHANNEL_6, LL_DMA_PERIPH_NOINCREMENT);

  LL_DMA_SetMemoryIncMode(DMA1, LL_DMA_CHANNEL_6, LL_DMA_MEMORY_INCREMENT);

  LL_DMA_SetPeriphSize(DMA1, LL_DMA_CHANNEL_6, LL_DMA_PDATAALIGN_BYTE);

  LL_DMA_SetMemorySize(DMA1, LL_DMA_CHANNEL_6, LL_DMA_MDATAALIGN_BYTE);

  /* UCPD2_TX Init */
  LL_DMA_SetPeriphRequest(DMA1, LL_DMA_CHANNEL_7, LL_DMAMUX_REQ_UCPD2_TX);

  LL_DMA_SetDataTransferDirection(DMA1, LL_DMA_CHANNEL_7, LL_DMA_DIRECTION_MEMORY_TO_PERIPH);

  LL_DMA_SetChannelPriorityLevel(DMA1, LL_DMA_CHANNEL_7, LL_DMA_PRIORITY_LOW);

  LL_DMA_SetMode(DMA1, LL_DMA_CHANNEL_7, LL_DMA_MODE_NORMAL);

  LL_DMA_SetPeriphIncMode(DMA1, LL_DMA_CHANNEL_7, LL_DMA_PERIPH_NOINCREMENT);

  LL_DMA_SetMemoryIncMode(DMA1, LL_DMA_CHANNEL_7, LL_DMA_MEMORY_INCREMENT);

  LL_DMA_SetPeriphSize(DMA1, LL_DMA_CHANNEL_7, LL_DMA_PDATAALIGN_BYTE);

  LL_DMA_SetMemorySize(DMA1, LL_DMA_CHANNEL_7, LL_DMA_MDATAALIGN_BYTE);

  /* UCPD2 interrupt Init */
  NVIC_SetPriority(UCPD1_2_IRQn, 3);
  NVIC_EnableIRQ(UCPD1_2_IRQn);

}

static void MX_USART1_UART_Init(void)
{

  huart1.Instance = USART1;
  huart1.Init.BaudRate = 921600;
  huart1.Init.WordLength = UART_WORDLENGTH_8B;
  huart1.Init.StopBits = UART_STOPBITS_1;
  huart1.Init.Parity = UART_PARITY_NONE;
  huart1.Init.Mode = UART_MODE_TX_RX;
  huart1.Init.HwFlowCtl = UART_HWCONTROL_NONE;
  huart1.Init.OverSampling = UART_OVERSAMPLING_16;
  huart1.Init.OneBitSampling = UART_ONE_BIT_SAMPLE_DISABLE;
  huart1.Init.ClockPrescaler = UART_PRESCALER_DIV1;
  huart1.AdvancedInit.AdvFeatureInit = UART_ADVFEATURE_RXOVERRUNDISABLE_INIT|UART_ADVFEATURE_DMADISABLEONERROR_INIT;
  huart1.AdvancedInit.OverrunDisable = UART_ADVFEATURE_OVERRUN_DISABLE;
  huart1.AdvancedInit.DMADisableonRxError = UART_ADVFEATURE_DMA_DISABLEONRXERROR;
  if (HAL_UART_Init(&huart1) != HAL_OK)
  {
    Error_Handler();
  }
  if (HAL_UARTEx_SetTxFifoThreshold(&huart1, UART_TXFIFO_THRESHOLD_1_8) != HAL_OK)
  {
    Error_Handler();
  }
  if (HAL_UARTEx_SetRxFifoThreshold(&huart1, UART_RXFIFO_THRESHOLD_1_8) != HAL_OK)
  {
    Error_Handler();
  }
  if (HAL_UARTEx_DisableFifoMode(&huart1) != HAL_OK)
  {
    Error_Handler();
  }

}

static void MX_DMA_Init(void)
{

  /* DMA controller clock enable */
  __HAL_RCC_DMA1_CLK_ENABLE();

  /* DMA interrupt init */
  /* DMA1_Channel1_IRQn interrupt configuration */
  HAL_NVIC_SetPriority(DMA1_Channel1_IRQn, 3, 0);
  HAL_NVIC_EnableIRQ(DMA1_Channel1_IRQn);
  /* DMA1_Channel2_3_IRQn interrupt configuration */
  HAL_NVIC_SetPriority(DMA1_Channel2_3_IRQn, 3, 0);
  HAL_NVIC_EnableIRQ(DMA1_Channel2_3_IRQn);
  /* DMA1_Ch4_7_DMAMUX1_OVR_IRQn interrupt configuration */
  HAL_NVIC_SetPriority(DMA1_Ch4_7_DMAMUX1_OVR_IRQn, 3, 0);
  HAL_NVIC_EnableIRQ(DMA1_Ch4_7_DMAMUX1_OVR_IRQn);

}

static void MX_GPIO_Init(void)
{
  GPIO_InitTypeDef GPIO_InitStruct = {0};

  /* GPIO Ports Clock Enable */
  __HAL_RCC_GPIOA_CLK_ENABLE();
  __HAL_RCC_GPIOB_CLK_ENABLE();
  __HAL_RCC_GPIOD_CLK_ENABLE();

  /*Configure GPIO pin Output Level */
  HAL_GPIO_WritePin(GPIOA, Blue_LED_Pin|Green_LED_Pin, GPIO_PIN_SET);

  /*Configure GPIO pin Output Level */
  HAL_GPIO_WritePin(GPIOB, EN_OTG_Pin|ILIM_HIZ_Pin|CELL_1S_DIS_EN_Pin|CELL_2S_DIS_EN_Pin
                          |CELL_3S_DIS_EN_Pin|CELL_4S_DIS_EN_Pin, GPIO_PIN_RESET);

  /*Configure GPIO pin Output Level */
  HAL_GPIO_WritePin(Red_LED_GPIO_Port, Red_LED_Pin, GPIO_PIN_SET);

  /*Configure GPIO pins : Blue_LED_Pin Green_LED_Pin */
  GPIO_InitStruct.Pin = Blue_LED_Pin|Green_LED_Pin;
  GPIO_InitStruct.Mode = GPIO_MODE_OUTPUT_PP;
  GPIO_InitStruct.Pull = GPIO_NOPULL;
  GPIO_InitStruct.Speed = GPIO_SPEED_FREQ_LOW;
  HAL_GPIO_Init(GPIOA, &GPIO_InitStruct);

  /*Configure GPIO pins : EN_OTG_Pin Red_LED_Pin ILIM_HIZ_Pin CELL_1S_DIS_EN_Pin
                           CELL_2S_DIS_EN_Pin CELL_3S_DIS_EN_Pin CELL_4S_DIS_EN_Pin */
  GPIO_InitStruct.Pin = EN_OTG_Pin|Red_LED_Pin|ILIM_HIZ_Pin|CELL_1S_DIS_EN_Pin
                          |CELL_2S_DIS_EN_Pin|CELL_3S_DIS_EN_Pin|CELL_4S_DIS_EN_Pin;
  GPIO_InitStruct.Mode = GPIO_MODE_OUTPUT_PP;
  GPIO_InitStruct.Pull = GPIO_NOPULL;
  GPIO_InitStruct.Speed = GPIO_SPEED_FREQ_LOW;
  HAL_GPIO_Init(GPIOB, &GPIO_InitStruct);

  /*Configure GPIO pins : PROTCHOT_Pin CHRG_OK_Pin */
  GPIO_InitStruct.Pin = PROTCHOT_Pin|CHRG_OK_Pin;
  GPIO_InitStruct.Mode = GPIO_MODE_INPUT;
  GPIO_InitStruct.Pull = GPIO_NOPULL;
  HAL_GPIO_Init(GPIOB, &GPIO_InitStruct);

}

/* USER CODE BEGIN 4 */

void vLED_Blinky(void const *pvParameters) {
	TickType_t xDelay = 500 / portTICK_PERIOD_MS;

	uint8_t count = 0;

	HAL_GPIO_WritePin(Red_LED_GPIO_Port, Red_LED_Pin, GPIO_PIN_RESET);
	HAL_GPIO_WritePin(Green_LED_GPIO_Port, Green_LED_Pin, GPIO_PIN_RESET);
	HAL_GPIO_WritePin(Blue_LED_GPIO_Port, Blue_LED_Pin, GPIO_PIN_RESET);

	vTaskDelay(xDelay*4);

	for (;;) {

		if ( (Get_Balance_Connection_State() != CONNECTED) && (Get_Error_State() == 0)) {
			switch (count) {
			case 0:
				HAL_GPIO_WritePin(Red_LED_GPIO_Port, Red_LED_Pin, GPIO_PIN_SET);
				HAL_GPIO_WritePin(Green_LED_GPIO_Port, Green_LED_Pin, GPIO_PIN_RESET);
				HAL_GPIO_WritePin(Blue_LED_GPIO_Port, Blue_LED_Pin, GPIO_PIN_SET);
				break;
			case 1:
				HAL_GPIO_WritePin(Red_LED_GPIO_Port, Red_LED_Pin, GPIO_PIN_SET);
				HAL_GPIO_WritePin(Green_LED_GPIO_Port, Green_LED_Pin, GPIO_PIN_SET);
				HAL_GPIO_WritePin(Blue_LED_GPIO_Port, Blue_LED_Pin, GPIO_PIN_RESET);
				break;
			case 2:
				HAL_GPIO_WritePin(Red_LED_GPIO_Port, Red_LED_Pin, GPIO_PIN_RESET);
				HAL_GPIO_WritePin(Green_LED_GPIO_Port, Green_LED_Pin, GPIO_PIN_SET);
				HAL_GPIO_WritePin(Blue_LED_GPIO_Port, Blue_LED_Pin, GPIO_PIN_SET);
				break;
			}
			if (count == 2) {
				count = 0;
			}
			else {
				count++;
			}
		}
		else if (Get_Error_State() != 0) {
			HAL_GPIO_WritePin(Red_LED_GPIO_Port, Red_LED_Pin, GPIO_PIN_SET);
			HAL_GPIO_WritePin(Green_LED_GPIO_Port, Green_LED_Pin, GPIO_PIN_SET);
			HAL_GPIO_WritePin(Blue_LED_GPIO_Port, Blue_LED_Pin, GPIO_PIN_SET);

			for (int i = 0; i < (Get_Error_State()); i++) {
				vTaskDelay(200 / portTICK_PERIOD_MS);
				HAL_GPIO_WritePin(Red_LED_GPIO_Port, Red_LED_Pin, GPIO_PIN_RESET);
				vTaskDelay(200 / portTICK_PERIOD_MS);
				HAL_GPIO_WritePin(Red_LED_GPIO_Port, Red_LED_Pin, GPIO_PIN_SET);
			}
			vTaskDelay(xDelay * 4);
		}
		else {
			if (Get_Balancing_State() >= 1) {
				HAL_GPIO_WritePin(Blue_LED_GPIO_Port, Blue_LED_Pin, GPIO_PIN_RESET);
			}
			else {
				HAL_GPIO_WritePin(Blue_LED_GPIO_Port, Blue_LED_Pin, GPIO_PIN_SET);
			}

			if (Get_Requires_Charging_State() == 1) {
				HAL_GPIO_WritePin(Red_LED_GPIO_Port, Red_LED_Pin, GPIO_PIN_RESET);
			}
			else {
				HAL_GPIO_WritePin(Red_LED_GPIO_Port, Red_LED_Pin, GPIO_PIN_SET);
			}

			if ((Get_Requires_Charging_State() == 0) && (Get_Balancing_State() == 0)) {
				HAL_GPIO_WritePin(Green_LED_GPIO_Port, Green_LED_Pin, GPIO_PIN_RESET);
			}
			else {
				HAL_GPIO_WritePin(Green_LED_GPIO_Port, Green_LED_Pin, GPIO_PIN_SET);
			}
		}

		vTaskDelay(xDelay);
	}
}

void _putchar(char character) {
	UART_Transfer((uint8_t *) &character, 1);
}

/* USER CODE END 4 */

void StartDefaultTask(void const * argument)
{
	for (;;) {
		osDelay(1);
	}
}

 /**
  * @brief  Period elapsed callback in non blocking mode
  * @note   This function is called  when TIM1 interrupt took place, inside
  * HAL_TIM_IRQHandler(). It makes a direct call to HAL_IncTick() to increment
  * a global variable "uwTick" used as application time base.
  * @param  htim : TIM handle
  * @retval None
  */
void HAL_TIM_PeriodElapsedCallback(TIM_HandleTypeDef *htim)
{
  if (htim->Instance == TIM1) {
    HAL_IncTick();
  }
}

void Error_Handler(void)
{
}

/************************ (C) COPYRIGHT STMicroelectronics *****END OF FILE****/

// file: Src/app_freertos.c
/* USER CODE BEGIN Header */
/**
  ******************************************************************************
  * File Name          : app_freertos.c
  * Description        : Code for freertos applications
  ******************************************************************************
  * This notice applies to any and all portions of this file
  * that are not between comment pairs USER CODE BEGIN and
  * USER CODE END. Other portions of this file, whether
  * inserted by the user or by software development tools
  * are owned by their respective copyright owners.
  *
  * Copyright (c) 2019 STMicroelectronics International N.V.
  * All rights reserved.
  *
  * Redistribution and use in source and binary forms, with or without
  * modification, are permitted, provided that the following conditions are met:
  *
  * 1. Redistribution of source code must retain the above copyright notice,
  *    this list of conditions and the following disclaimer.
  * 2. Redistributions in binary form must reproduce the above copyright notice,
  *    this list of conditions and the following disclaimer in the documentation
  *    and/or other materials provided with the distribution.
  * 3. Neither the name of STMicroelectronics nor the names of other
  *    contributors to this software may be used to endorse or promote products
  *    derived from this software without specific written permission.
  * 4. This software, including modifications and/or derivative works of this
  *    software, must execute solely and exclusively on microcontroller or
  *    microprocessor devices manufactured by or for STMicroelectronics.
  * 5. Redistribution and use of this software other than as permitted under
  *    this license is void and will automatically terminate your rights under
  *    this license.
  *
  * THIS SOFTWARE IS PROVIDED BY STMICROELECTRONICS AND CONTRIBUTORS "AS IS"
  * AND ANY EXPRESS, IMPLIED OR STATUTORY WARRANTIES, INCLUDING, BUT NOT
  * LIMITED TO, THE IMPLIED WARRANTIES OF MERCHANTABILITY, FITNESS FOR A
  * PARTICULAR PURPOSE AND NON-INFRINGEMENT OF THIRD PARTY INTELLECTUAL PROPERTY
  * RIGHTS ARE DISCLAIMED TO THE FULLEST EXTENT PERMITTED BY LAW. IN NO EVENT
  * SHALL STMICROELECTRONICS OR CONTRIBUTORS BE LIABLE FOR ANY DIRECT, INDIRECT,
  * INCIDENTAL, SPECIAL, EXEMPLARY, OR CONSEQUENTIAL DAMAGES (INCLUDING, BUT NOT
  * LIMITED TO, PROCUREMENT OF SUBSTITUTE GOODS OR SERVICES; LOSS OF USE, DATA,
  * OR PROFITS; OR BUSINESS INTERRUPTION) HOWEVER CAUSED AND ON ANY THEORY OF
  * LIABILITY, WHETHER IN CONTRACT, STRICT LIABILITY, OR TORT (INCLUDING
  * NEGLIGENCE OR OTHERWISE) ARISING IN ANY WAY OUT OF THE USE OF THIS SOFTWARE,
  * EVEN IF ADVISED OF THE POSSIBILITY OF SUCH DAMAGE.
  *
  ******************************************************************************
  */
/* USER CODE END Header */

#include "FreeRTOS.h"
#include "task.h"
#include "main.h"

/* Hook prototypes */
void configureTimerForRunTimeStats(void);
unsigned long getRunTimeCounterValue(void);

/* USER CODE BEGIN 1 */
/* Functions needed when configGENERATE_RUN_TIME_STATS is on */
__weak void configureTimerForRunTimeStats(void)
{

}

__weak unsigned long getRunTimeCounterValue(void)
{
return 0;
}
/* USER CODE END 1 */

/************************ (C) COPYRIGHT STMicroelectronics *****END OF FILE****/
